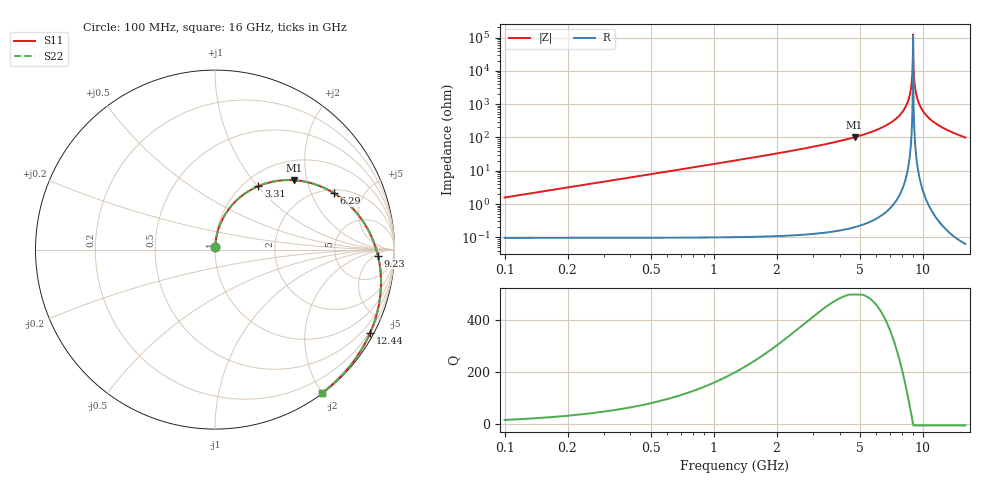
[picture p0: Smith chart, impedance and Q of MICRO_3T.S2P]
! Coilcraft 0906-3 Micro Spring Air Core Inductor
! 16 May 2003
# MHZ S MA R 50
!Freq  MagS11  AngS11  MagS21  AngS21  MagS12  AngS12  MagS22  AngS22
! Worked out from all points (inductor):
!   1591 points, 100 MHz to 16 GHz, reference 50 ohm
!   read as 1/Y11, port 2 shorted: L = 2.5 nH near 170 MHz
!   highest Q = 503 at 4.72 GHz (marker M1), where L = 3.42 nH
!   self-resonance near 8.99 GHz
!   S11 on the Smith chart (normalised r, x): 100 MHz: 1.00, +0.03; 3.31 GHz: 1.17, +1.01; 6.29 GHz: 2.17, +2.95; 9.23 GHz: 18, -7; 12.44 GHz: 0.16, -3.98; 16 GHz: 0.01, -1.99
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100  0.01342 84.8  0.9989 -1.0  0.9989 -1.0  0.01343 84.8
250  0.03348 85.8  0.9985 -2.6  0.9985 -2.6  0.0335 85.8
380  0.05087 85.0  0.9977 -3.9  0.9977 -3.9  0.0509 85.0
580  0.07759 83.3  0.996 -6.0  0.996 -6.0  0.07764 83.3
840  0.1122 80.8  0.9927 -8.7  0.9927 -8.7  0.1123 80.8
1180  0.1573 77.5  0.9866 -12.2  0.9866 -12.2  0.1574 77.5
1610  0.2138 73.1  0.9759 -16.6  0.9759 -16.6  0.214 73.1
2130  0.2812 67.8  0.9587 -22.0  0.9587 -22.0  0.2814 67.8
2750  0.3594 61.4  0.9322 -28.4  0.9322 -28.4  0.3597 61.4
3310  0.4278 55.7  0.9029 -34.2  0.9029 -34.2  0.428 55.7
4020  0.5103 48.4  0.859 -41.5  0.859 -41.5  0.5106 48.4
4720  0.5862 41.2  0.8091 -48.7  0.8091 -48.7  0.5866 41.2
5400  0.654 34.3  0.7554 -55.6  0.7554 -55.6  0.6544 34.3
6290  0.7328 25.5  0.6793 -64.5  0.6793 -64.5  0.7333 25.5
7200  0.8009 16.6  0.5975 -73.4  0.5975 -73.4  0.8014 16.6
8050  0.853 8.6  0.5205 -81.4  0.5205 -81.4  0.8536 8.6
9230  0.9081 -2.1  0.4171 -92.1  0.4171 -92.1  0.9087 -2.1
10700  0.9529 -14.6  0.3014 -104.5  0.3014 -104.5  0.9534 -14.6
12440  0.981 -28.2  0.1914 -118.2  0.1914 -118.2  0.9815 -28.2
13350  0.9886 -34.9  0.1473 -124.9  0.1473 -124.9  0.9891 -34.9
15010  0.9953 -46.6  0.09185 -136.7  0.09185 -136.7  0.9957 -46.6
16000  0.9967 -53.4  0.07457 -143.6  0.07457 -143.6  0.9972 -53.4
